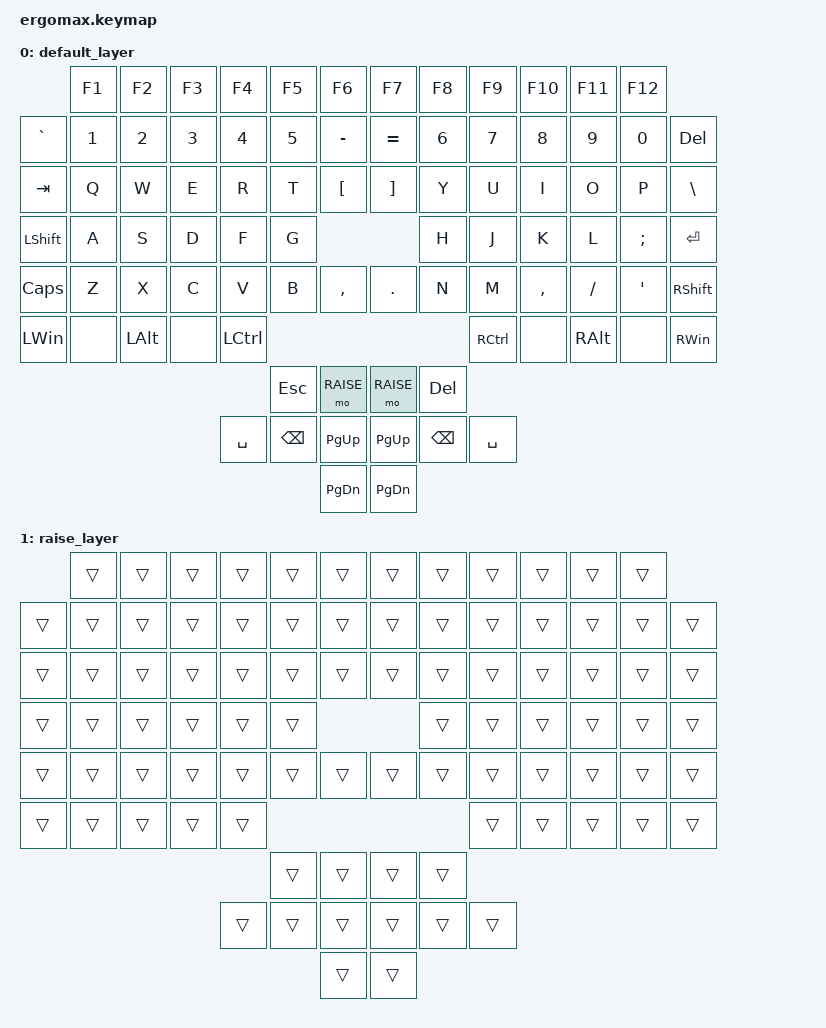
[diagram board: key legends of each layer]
#include <behaviors.dtsi>
#include <dt-bindings/zmk/keys.h>
#include <dt-bindings/zmk/bt.h>

#define DEFAULT 0
#define RAISE   1


/ {
        keymap {
                compatible = "zmk,keymap";

                default_layer {
/* QWERTY
 *   QMK Settings: 
 *              KC_F1,   KC_F2,   KC_F3,   KC_F4, KC_F5, KC_F6,                         KC_F7,       KC_F8, KC_F9,   KC_F10,   KC_F11,  KC_F12,                  \
 *   KC_GRAVE,  KC_1,    KC_2,    KC_3,    KC_4,  KC_5,  KC_NO,                         KC_NO,       KC_6,  KC_7,    KC_8,     KC_9,    KC_0,      KC_MINUS,     \
 *   KC_TAB,    KC_Q,    KC_W,    KC_E,    KC_R,  KC_T,  KC_LBRACKET,                   KC_RBRACKET, KC_Y,  KC_U,    KC_I,     KC_O,    KC_P,      KC_EQUAL,     \
 *   KC_CAPS,   KC_A,    KC_S,    KC_D,    KC_F,  KC_G,                                              KC_H,  KC_J,    KC_K,     KC_L,    KC_SCOLON, KC_QUOTE,     \
 *   KC_LSHIFT, KC_Z,    KC_X,    KC_C,    KC_V,  KC_B,  LUP_TG,                        KC_BSLASH,   KC_N,  KC_M,    KC_COMMA, KC_DOT,  KC_SLASH,  KC_RSHIFT,    \
 *   KC_NO,     KC_LGUI, KC_LALT, KC_NO,   KC_LCTRL,                                                        KC_DOWN, KC_UP,    KC_LEFT, KC_RIGHT,  KC_INS,       \
 *                                                       KC_NO,    KC_NO,      KC_NO,   KC_NO,                                                                   \
 *                                             KC_BSPC,  KC_DEL,   KC_PGUP,    KC_HOME, KC_ENTER,  KC_SPACE,                                                     \
 *                                                                 KC_PGDOWN,  KC_END                                                                            \
 * ),
 */
                        bindings = <
              &kp  F1       &kp  F2       &kp  F3       &kp  F4       &kp  F5       &kp  F6                &kp  F7       &kp  F8       &kp  F9          &kp  F10        &kp  F11      &kp  F12
&kp  GRAVE    &kp  N1       &kp  N2       &kp  N3       &kp  N4       &kp  N5       &kp MINUS              &kp  EQUAL    &kp  N6       &kp  N7          &kp  N8         &kp  N9       &kp  N0           &kp  DEL
&kp  TAB      &kp  Q        &kp  W        &kp  E        &kp  R        &kp  T        &kp  LBKT              &kp  RBKT     &kp  Y        &kp  U           &kp  I          &kp  O        &kp  P            &kp  BSLH
&kp  LSHIFT   &kp  A        &kp  S        &kp  D        &kp  F        &kp  G                                             &kp  H        &kp  J           &kp  K          &kp  L        &kp  SEMI         &kp  ENTER
&kp  CAPS     &kp  Z        &kp  X        &kp  C        &kp  V        &kp  B        &kp  COMMA             &kp  PERIOD   &kp  N        &kp  M           &kp  COMMA      &kp  SLASH    &kp  SINGLE_QUOTE &kp  RSHFT
&kp  LWIN     &none         &kp  LALT     &none         &kp  LCTRL                                                                     &kp  RCTRL       &none           &kp  RALT     &none             &kp  RWIN
                                                                      &kp ESC       &mo RAISE              &mo RAISE     &kp DEL
                                                        &kp SPACE     &kp BSPC      &kp PG_UP              &kp PG_UP     &kp BSPC      &kp SPACE
                                                                                    &kp PG_DN              &kp PG_DN             
                        >;
                };
                raise_layer {
                        bindings = <
        &trans   &trans   &trans   &trans   &trans   &trans                   &trans   &trans   &trans   &trans   &trans   &trans
&trans   &trans   &trans   &trans   &trans   &trans   &trans                   &trans   &trans   &trans   &trans   &trans   &trans   &trans
&trans   &trans   &trans   &trans   &trans   &trans   &trans                   &trans   &trans   &trans   &trans   &trans   &trans   &trans
&trans   &trans   &trans   &trans   &trans   &trans                                   &trans   &trans   &trans   &trans   &trans   &trans
&trans   &trans   &trans   &trans   &trans   &trans   &trans                   &trans   &trans   &trans   &trans   &trans   &trans   &trans
&trans   &trans   &trans   &trans   &trans                                                   &trans   &trans   &trans   &trans    &trans
                                        &trans   &trans                   &trans   &trans
                                       &trans   &trans   &trans      &trans   &trans   &trans
                                                &trans                   &trans             
                        >;
                };
        };
};
